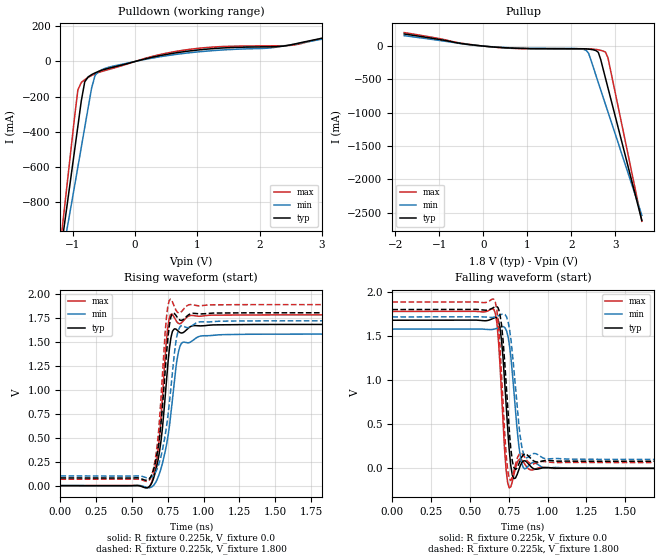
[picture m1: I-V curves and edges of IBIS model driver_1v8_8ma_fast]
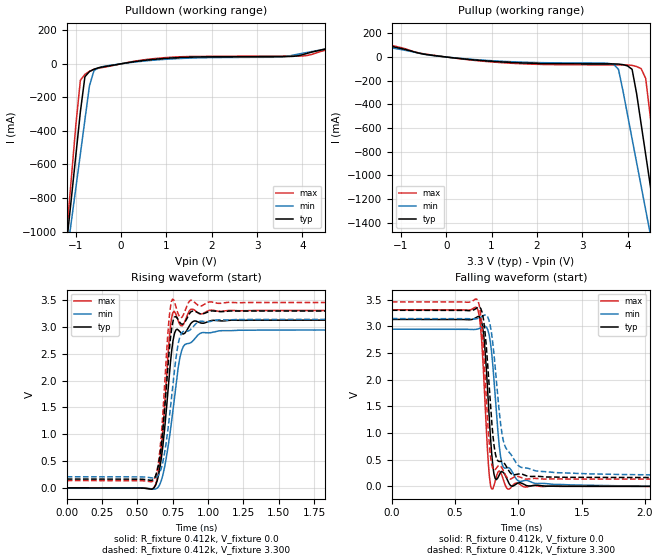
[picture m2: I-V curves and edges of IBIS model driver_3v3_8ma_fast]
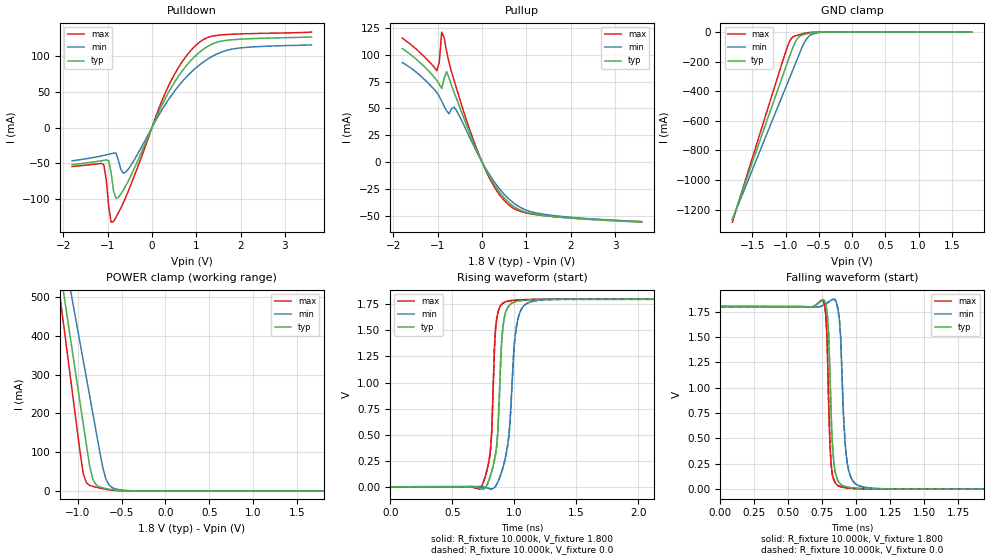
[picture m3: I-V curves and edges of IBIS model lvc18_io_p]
| Copyright (C)2014-2022 Gowin Semiconductor Corporation.
| All rights reserved.
| File Title: IBIS file
| GOWIN Version: V1.9.8.09
| Part Number: GW1NR-LV9QN88PC6/I5
| Device: GW1NR-9C
| Created Time: Thu Dec 22 21:52:36 2022
[IBIS ver] 5.0
[File Rev] 1.0
[File Name] telinha_I2C.ibs
[Date] Thu Dec 22 21:52:36 2022
[Source] Pre_simulation netlist
[Notes] Version 1.0 IBIS Model
[Copyright] Copyright 2022, Gowinsemi inc.
|   Component GW1NR-9C
[Component] GW1NR-9C
[Manufacturer] Gowinsemi Inc.
[Package]
| variable   typ   min   max
R_pkg   2.000m   1.000m   4.000m
L_pkg   0.200nH   0.100nH   0.400nH
C_pkg   2.000pF   1.000pF   4.000pF
[Pin]  signal_name   model_name   R_pin   L_pin   C_pin
52   clk   lvc33_io_p
3   i_start   lvc18_io_p
32   o_scl   driver_3v3_8ma_fast
84   saida_pulso_dados   driver_1v8_8ma_fast
16   saida_hab_transmissao driver_1v8_8ma_fast
10   o_address_nack   driver_1v8_8ma_fast
11   o_data_nack   driver_1v8_8ma_fast
13   trava_ativada   driver_1v8_8ma_fast
31   o_sda   driver_3v3_8ma_fast
| Models and submodels in the file (4): driver_1v8_8ma_fast (Output), driver_3v3_8ma_fast (Output), lvc18_io_p (I/O), lvc33_io_p (I/O)
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|   Model driver_1v8_8ma_fast
[Model] driver_1v8_8ma_fast
Model_type Output
Polarity   Non-Inverting
C_comp   1.295pF   1.385pF   1.091pF
[Temperature Range]   25.000   0.125k   -40.000
[Voltage Range]   1.800V   1.710V   1.890V
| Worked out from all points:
|   slope of the pulldown table from 0 to 0.27 V, typ, clamps not added: 11.4 ohm
|   slope of the pullup table from 0 to 0.27 V, typ, clamps not added: 17.5 ohm
|   rising waveform, R_fixture 0.225k, V_fixture 0.0: 20-80 % time 65.3ps typ, 83.6ps min, 54.9ps max; typ from 0 V to 1.68 V
|   rising waveform, R_fixture 0.225k, V_fixture 1.800: 20-80 % time 60.3ps typ, 77.7ps min, 51ps max; typ from 0.08 V to 1.8 V
|   falling waveform, R_fixture 0.225k, V_fixture 0.0: 20-80 % time 38.5ps typ, 47.7ps min, 33.5ps max; typ from 1.68 V to 0 V
|   falling waveform, R_fixture 0.225k, V_fixture 1.800: 20-80 % time 40.2ps typ, 51.3ps min, 34.7ps max; typ from 1.8 V to 0.08 V
[Pulldown]
|Voltage   I(typ)   I(min)   I(max)
-1.8V     -2.658A    -2.385A    -2.966A
-1.195V   -1.084A    -1.16A     -1.028A
-1.14V    -941.3mA   -1.048A    -851.5mA
-1.085V   -798.6mA   -937.3mA   -675.4mA
-920mV    -369.3mA   -602.5mA   -162.2mA
-810mV    -116.5mA   -376.4mA   -103.9mA
-700mV    -75.2mA    -152.7mA   -80.17mA
-590mV    -56.95mA   -57.47mA   -63.35mA
70mV      6.695mA    5.299mA    8.108mA
1.06V     67.37mA    56.34mA    76.8mA
2.545V    98.19mA    98.02mA    93.83mA
3.6V      179.8mA    164.6mA    181.7mA
[Pullup]
|Voltage   I(typ)   I(min)   I(max)
-1.8V     182.1mA    156.6mA    203mA
-525mV    41.36mA    38.25mA    46.02mA
190mV     -11.32mA   -9.844mA   -12.93mA
905mV     -35.45mA   -31.95mA   -39.57mA
2.28V     -40.23mA   -50.02mA   -43.68mA
2.335V    -41.93mA   -64.07mA   -43.75mA
2.39V     -45.1mA    -109.1mA   -43.89mA
2.61V     -93.35mA   -547.8mA   -55.69mA
2.665V    -201.5mA   -658.9mA   -63.74mA
2.775V    -486.4mA   -879.2mA   -91.36mA
2.83V     -627.9mA   -989.2mA   -176.1mA
3.6V      -2.619A    -2.539A    -2.63A
[Ramp]
| variable   typ   min   max
dV/dt_r   0.772/99.581p   0.704/0.112n   0.842/91.704p
dV/dt_f   0.875/85.778p   0.792/96.813p   0.950/83.942p
R_load = 50.000
[Rising Waveform]
R_fixture= 0.225k
V_fixture= 0.0
|time   V(typ)   V(min)   V(max)
0s        0V         707.3nV    0V
626ps     -1.523mV   -20.48mV   -731.6uV
665ps     153.3mV    33.85mV    203.1mV
696ps     397.8mV    147.3mV    583.5mV
747ps     1.211V     477mV      1.615V
777ps     1.574V     825.6mV    1.789V
811ps     1.624V     1.283V     1.71V
835ps     1.594V     1.451V     1.686V
984ps     1.663V     1.559V     1.764V
5ns       1.679V     1.578V     1.778V
[Rising Waveform]
R_fixture= 0.225k
V_fixture= 1.800
|time   V(typ)   V(min)   V(max)
0s        80.25mV    100.8mV    66.41mV
625ps     79.06mV    79.49mV    65.24mV
656ps     197.6mV    118mV      220.1mV
688ps     453.4mV    229mV      611.9mV
738ps     1.323V     588mV      1.72V
768ps     1.733V     971.8mV    1.942V
801ps     1.783V     1.443V     1.846V
824ps     1.736V     1.62V      1.799V
974ps     1.787V     1.705V     1.872V
5ns       1.8V       1.716V     1.885V
[Falling Waveform]
R_fixture= 0.225k
V_fixture= 0.0
|time   V(typ)   V(min)   V(max)
0s        1.679V     1.578V     1.779V
654ps     1.705V     1.577V     1.801V
674ps     1.703V     1.588V     1.644V
702ps     1.48V      1.606V     895.7mV
732ps     749.7mV    1.572V     5.082mV
753ps     209.6mV    1.412V     -220.8mV
783ps     -114.1mV   877.6mV    -74.2mV
822ps     20.28mV    161.7mV    104.6mV
852ps     86.67mV    -5.369mV   51.15mV
5ns       62.7uV     96.46uV    42.64uV
[Falling Waveform]
R_fixture= 0.225k
V_fixture= 1.800
|time   V(typ)   V(min)   V(max)
0s        1.8V       1.717V     1.885V
654ps     1.825V     1.713V     1.916V
683ps     1.812V     1.73V      1.643V
702ps     1.651V     1.745V     1.119V
733ps     963.3mV    1.725V     163.3mV
762ps     242.4mV    1.487V     -137.6mV
784ps     7.043mV    1.105V     -24.03mV
823ps     85.87mV    373.4mV    167.4mV
863ps     161.7mV    119.9mV    99.13mV
5ns       80.32mV    101mV      66.46mV
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|   Model driver_3v3_8ma_fast
[Model] driver_3v3_8ma_fast
Model_type Output
Polarity   Non-Inverting
C_comp   1.073pF   0.936pF   1.224pF
C_comp_pullup   0.206pF   0.144pF   0.291pF
C_comp_pulldown   0.828pF   0.751pF   0.897pF
[Temperature Range]   25.000   0.125k   -40.000
[Voltage Range]   3.300V   3.135V   3.465V
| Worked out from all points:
|   slope of the pulldown table from 0 to 0.495 V, typ, clamps not added: 24.9 ohm
|   slope of the pullup table from 0 to 0.495 V, typ, clamps not added: 24.3 ohm
|   rising waveform, R_fixture 0.412k, V_fixture 0.0: 20-80 % time 67.5ps typ, 89.5ps min, 54.1ps max; typ from 0 V to 3.13 V
|   rising waveform, R_fixture 0.412k, V_fixture 3.300: 20-80 % time 60.8ps typ, 79.3ps min, 50.3ps max; typ from 0.165 V to 3.3 V
|   falling waveform, R_fixture 0.412k, V_fixture 0.0: 20-80 % time 50.6ps typ, 62.8ps min, 44.1ps max; typ from 3.13 V to 0 V
|   falling waveform, R_fixture 0.412k, V_fixture 3.300: 20-80 % time 61.2ps typ, 84.9ps min, 51.8ps max; typ from 3.3 V to 0.165 V
[Pulldown]
|Voltage   I(typ)   I(min)   I(max)
-3.3V     -6.514A    -5.385A    -7.721A
-1.2V     -1.063A    -1.142A    -1.003A
-1.1V     -804.3mA   -941.2mA   -683.8mA
-900mV    -286.3mA   -537.5mA   -98.37mA
-800mV    -77.51mA   -333.5mA   -62.89mA
-700mV    -46.21mA   -131.9mA   -44.87mA
-600mV    -32.42mA   -40.15mA   -33.32mA
-500mV    -23.62mA   -24.09mA   -26.81mA
1.1V      34.39mA    28.82mA    39.1mA
4.1V      61.97mA    67.54mA    49.3mA
6.2V      179.9mA    119.9mA    187.8mA
6.6V      146.7mA    124.5mA    207.1mA
[Pullup]
|Voltage   I(typ)   I(min)   I(max)
-3.3V     167.6mA    144.2mA    217.7mA
-2.8V     193.9mA    165.5mA    214.9mA
500mV     -20.53mA   -17.58mA   -23.68mA
3.7V      -58.3mA    -63.73mA   -66.59mA
3.8V      -59.5mA    -104.8mA   -66.68mA
4.1V      -103.9mA   -692.6mA   -70.58mA
4.2V      -309.8mA   -892.8mA   -80.6mA
4.4V      -825.2mA   -1.293A    -181.3mA
4.5V      -1.083A    -1.494A    -498.7mA
4.6V      -1.341A    -1.695A    -816.2mA
4.8V      -1.858A    -2.099A    -1.453A
6.6V      -6.533A    -5.737A    -7.213A
[Ramp]
| variable   typ   min   max
dV/dt_r   1.248/97.781p   1.112/0.109n   1.384/88.763p
dV/dt_f   1.149/87.747p   1.003/93.329p   1.267/84.418p
R_load = 50.000
[Rising Waveform]
R_fixture= 0.412k
V_fixture= 0.0
|time   V(typ)   V(min)   V(max)
0s        0V         1.943uV    0V
617ps     2.701mV    -23.1mV    6.561mV
667ps     518.2mV    120.1mV    667.4mV
729ps     2.21V      988.2mV    2.906V
759ps     2.844V     1.619V     3.294V
791ps     2.939V     2.287V     3.099V
824ps     2.87V      2.634V     3.045V
877ps     3.064V     2.708V     3.331V
964ps     3.071V     2.897V     3.252V
5ns       3.129V     2.945V     3.309V
[Rising Waveform]
R_fixture= 0.412k
V_fixture= 3.300
|time   V(typ)   V(min)   V(max)
0s        165.2mV    207.9mV    136.6mV
617ps     170.6mV    183.3mV    145.9mV
657ps     565.5mV    275.4mV    644.9mV
679ps     1.061V     473.6mV    1.348V
720ps     2.405V     1.182V     3.045V
749ps     3.074V     1.879V     3.521V
800ps     3.085V     2.815V     3.186V
877ps     3.279V     2.956V     3.502V
943ps     3.248V     3.107V     3.391V
5ns       3.3V       3.144V     3.458V
[Falling Waveform]
R_fixture= 0.412k
V_fixture= 0.0
|time   V(typ)   V(min)   V(max)
0s        3.129V     2.946V     3.309V
671ps     3.172V     2.945V     3.347V
699ps     3.149V     2.967V     3.035V
723ps     2.887V     2.996V     2.201V
759ps     1.714V     2.925V     540.5mV
789ps     610.2mV    2.495V     -45.96mV
816ps     150.3mV    1.719V     94.01mV
868ps     279.3mV    444.1mV    217.8mV
1.011ns   68.88mV    93.16mV    39.02mV
5ns       133.6uV    251.4uV    75.06uV
[Falling Waveform]
R_fixture= 0.412k
V_fixture= 3.300
|time   V(typ)   V(min)   V(max)
0s        3.3V       3.145V     3.458V
680ps     3.358V     3.147V     3.48V
709ps     3.29V      3.18V      3.052V
733ps     2.967V     3.211V     2.22V
785ps     1.332V     2.913V     466.6mV
816ps     631.2mV    2.255V     316.1mV
868ps     469mV      1.016V     354mV
930ps     273mV      632.2mV    135.5mV
1.402ns   170.4mV    247.1mV    138.9mV
5ns       165.4mV    208.2mV    136.7mV
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|   Model lvc18_io_p
[Model] lvc18_io_p
Model_type I/O
Polarity   Non-Inverting
Enable   Active-Low
Vmeas =  0.900V
C_comp   1.135pF   1.094pF   1.178pF
C_comp_pullup   0.152pF   0.147pF   0.157pF
C_comp_pulldown   0.171pF   0.168pF   0.174pF
[Model Spec]
Vmeas   0.900V   0.900V   0.900V
[Temperature Range]   25.000   0.125k   -40.000
[Voltage Range]   1.800V   1.800V   1.800V
[Pullup Reference]   1.800V   1.800V   1.800V
[POWER Clamp Reference]   1.800V   1.800V   1.800V
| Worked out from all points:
|   slope of the pulldown table from 0 to 0.27 V, typ, clamps not added: 7.29 ohm
|   slope of the pullup table from 0 to 0.27 V, typ, clamps not added: 13.1 ohm
|   GND clamp passes 1 mA (typ) near -0.52 V on its own axis
|   POWER clamp passes 1 mA (typ) near -0.51 V on its own axis
|   rising waveform, R_fixture 10.000k, V_fixture 1.800: 20-80 % time 46.6ps typ, 65.2ps min, 36.7ps max; typ from 0.001 V to 1.8 V
|   rising waveform, R_fixture 10.000k, V_fixture 0.0: 20-80 % time 46.5ps typ, 65.2ps min, 36.6ps max; typ from 0 V to 1.8 V
|   falling waveform, R_fixture 10.000k, V_fixture 1.800: 20-80 % time 29.9ps typ, 37.5ps min, 23.5ps max; typ from 1.8 V to 0.001 V
|   falling waveform, R_fixture 10.000k, V_fixture 0.0: 20-80 % time 29.8ps typ, 37.4ps min, 23.5ps max; typ from 1.8 V to 0 V
[Pulldown]
|Voltage   I(typ)   I(min)   I(max)
-1.8V     -52mA      -46.62mA   -54.65mA
-1.085V   -45.91mA   -39.06mA   -52.05mA
-975mV    -46.69mA   -37.44mA   -111mA
-920mV    -63.81mA   -36.6mA    -132.7mA
-865mV    -89.05mA   -35.78mA   -131.9mA
-810mV    -99.37mA   -35.75mA   -125.7mA
-700mV    -93.13mA   -58.94mA   -112.7mA
-590mV    -81.7mA    -62.36mA   -97.74mA
345mV     46.01mA    36.61mA    54.49mA
1.005V    102mA      84.45mA    116.2mA
1.83V     123.4mA    110.4mA    131.1mA
3.6V      127.2mA    116mA      134mA
[Pullup]
|Voltage   I(typ)   I(min)   I(max)
-1.8V     105.7mA    92.69mA    115.5mA
-1.02V    75.98mA    64.79mA    85.05mA
-965mV    72.43mA    61.24mA    92.99mA
-910mV    68.61mA    56.76mA    121.1mA
-855mV    77.91mA    51.96mA    115.9mA
-800mV    84.19mA    47.8mA     103.3mA
-580mV    59.42mA    48.21mA    69.09mA
-85mV     7.696mA    6.604mA    8.666mA
245mV     -19.03mA   -16.7mA    -20.97mA
630mV     -38.69mA   -35.36mA   -40.88mA
1.345V    -49.56mA   -48.39mA   -49.74mA
3.6V      -56.09mA   -55.66mA   -55.55mA
[GND_clamp]
|Voltage   I(typ)   I(min)   I(max)
-1.8V     -1.269A    -1.266A    -1.285A
-986mV    -222.7mA   -361.3mA   -115.9mA
-949mV    -175.6mA   -320.5mA   -72.08mA
-912mV    -128.6mA   -279.6mA   -41.51mA
-838mV    -54.25mA   -197.7mA   -23.13mA
-801mV    -33.08mA   -156.5mA   -18.46mA
-727mV    -16.71mA   -79mA      -9.528mA
-690mV    -12.13mA   -50.45mA   -5.976mA
-616mV    -5.482mA   -17.36mA   -1.536mA
-542mV    -1.682mA   -7.105mA   -166.8uA
-320mV    -1.868uA   -148.2uA   -3.895nA
1.8V      5.866pA    0A         0A
[POWER_clamp]
|Voltage   I(typ)   I(min)   I(max)
-1.8V     1.487A     1.427A     1.556A
-1.197V   567.2mA    662.8mA    493.1mA
-1.16V    511mA      616.4mA    428.1mA
-1.086V   398.9mA    523.5mA    298.1mA
-1.049V   342.8mA    477.1mA    233.2mA
-938mV    174.8mA    338.2mA    46.21mA
-864mV    64.72mA    245.6mA    14.27mA
-827mV    29.49mA    199.3mA    11.61mA
-716mV    7.849mA    62.02mA    5.748mA
-679mV    5.979mA    30.37mA    4.123mA
-605mV    3.164mA    8.36mA     1.656mA
1.8V      0A         0A         0A
[Ramp]
| variable   typ   min   max
dV/dt_r   1.079/54.990p   1.079/75.177p   1.079/41.165p
dV/dt_f   1.079/32.459p   1.079/40.901p   1.079/29.066p
R_load = 10.000k
[Rising Waveform]
R_fixture= 10.000k
V_fixture= 1.800
|time   V(typ)   V(min)   V(max)
0s        1.185mV    1.518mV    984.5uV
735ps     -16.86mV   3.084mV    -412.5uV
811ps     119.5mV    -18.37mV   388.5mV
839ps     251.1mV    -6.999mV   1.3V
856ps     370.1mV    20.16mV    1.591V
897ps     1.376V     139.7mV    1.748V
934ps     1.685V     313.5mV    1.776V
1.017ns   1.779V     1.533V     1.791V
1.126ns   1.794V     1.772V     1.796V
5ns       1.8V       1.8V       1.8V
[Rising Waveform]
R_fixture= 10.000k
V_fixture= 0.0
|time   V(typ)   V(min)   V(max)
0s        0V         1.146uV    0V
769ps     -5.386mV   -7.859mV   111.7mV
811ps     118.2mV    -19.91mV   385.3mV
839ps     249.3mV    -8.543mV   1.294V
858ps     390.7mV    22.33mV    1.609V
897ps     1.371V     137.9mV    1.746V
943ps     1.708V     369mV      1.778V
1.018ns   1.777V     1.537V     1.789V
1.135ns   1.792V     1.773V     1.795V
5ns       1.798V     1.798V     1.798V
[Falling Waveform]
R_fixture= 10.000k
V_fixture= 1.800
|time   V(typ)   V(min)   V(max)
0s        1.8V       1.8V       1.8V
755ps     1.867V     1.812V     1.864V
784ps     1.748V     1.834V     1.522V
796ps     1.557V     1.846V     873mV
814ps     767.7mV    1.862V     258.4mV
865ps     85.07mV    1.775V     35.17mV
892ps     41.42mV    1.238V     21.74mV
935ps     20.82mV    243.6mV    11.63mV
1.053ns   5.307mV    21.83mV    3.851mV
5ns       1.185mV    1.518mV    984.5uV
[Falling Waveform]
R_fixture= 10.000k
V_fixture= 0.0
|time   V(typ)   V(min)   V(max)
0s        1.798V     1.798V     1.798V
755ps     1.865V     1.809V     1.862V
784ps     1.745V     1.832V     1.517V
796ps     1.553V     1.844V     866.2mV
814ps     761.4mV    1.859V     255.6mV
865ps     83.49mV    1.772V     34.07mV
892ps     40.11mV    1.23V      20.71mV
935ps     19.58mV    240.6mV    10.62mV
1.053ns   4.111mV    20.23mV    2.861mV
5ns       0V         1.145uV    0V
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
